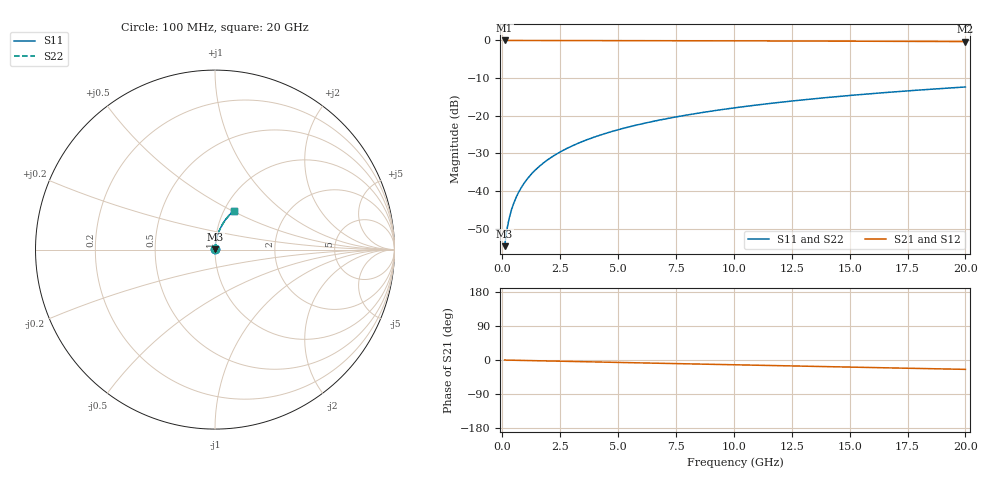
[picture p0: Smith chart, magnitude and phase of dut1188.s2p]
! Touchstone file exported from HFSS 2026.1.0
!  File:  C:/ffzhzh/LocalFiles/Ansys_Project_Files/temp_train_TMRDL_1188_1783162748_22436.aedt
!  Generated:  07:00:19 PM Jul  4, 2026
!  Design:  TMRDL
!  Project:  temp_train_TMRDL_1188_1783162748_22436
! Variables:
!  h_bsmrdl = 2um
!  h_ox = 20um
!  h_rdl = 5um
!  h_sub = 80um
!  h_tmrdl = 4.33um
!  h_tsv = 80um
!  h_via = 3um
!  l_bsmrdl = 300um
!  l_sub = 721.48um
!  l_tmrdl = 321.48um
!  m_sub = 200um
!  pitch = 58.32um
!  r_tsv = 6um
!  s_tmrdl = 10um
!  w_bsmrdl = 18um
!  w_sub = 500um
!  w_tmrdl = 27.3um
!  x_tsv_center1 = 335.13um
!  x_tsv_center2 = 653.13um
!  x_tsv_center3 = 1001.91um
!  x_tsv_center4 = 1319.91um
!  x_tsv_center5 = 1668.69um
!  x_tsv_center6 = 1986.69um
# GHz S MA R 50.000000
! Terminal data exported
! Port[1] = TM_RDL1_1_T1
! Port[2] = TM_RDL1_1_T2
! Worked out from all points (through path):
!   200 points, 100 MHz to 20 GHz, reference 50 ohm
!   highest |S21| = -0.01 dB at 100 MHz (marker M1); lowest = -0.3 dB at 20 GHz (marker M2)
!   group delay of S21, straight-line fit = 3.43 ps
!   lowest |S11| = -54.6 dB at 100 MHz (marker M3), VSWR 1.00, Z = 50.1 + j0.144 ohm
!   |S11| at or under -10 dB: start of sweep to end of sweep
!   |S22| runs from -54.6 to -12.4 dB; largest |S21 - S12| = 3e-15
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0.1  0.001853 50.8  0.9988 -0.1  0.9988 -0.1  0.001853 50.8
! Gamma 0 0 0 0
! Port Impedance 50 0 50 0
0.2  0.003093 66.0  0.9987 -0.3  0.9987 -0.3  0.003093 66.0
0.3  0.004384 72.0  0.9987 -0.4  0.9987 -0.4  0.004383 72.0
0.4  0.005673 75.3  0.9986 -0.5  0.9986 -0.5  0.005672 75.3
0.5  0.006961 77.4  0.9986 -0.7  0.9986 -0.7  0.00696 77.4
0.7  0.009545 80.0  0.9985 -0.9  0.9985 -0.9  0.009545 80.0
0.8  0.01084 80.8  0.9985 -1.0  0.9985 -1.0  0.01084 80.8
1  0.01345 82.0  0.9984 -1.3  0.9984 -1.3  0.01345 82.0
1.2  0.01606 82.7  0.9983 -1.6  0.9983 -1.6  0.01606 82.7
1.4  0.01867 83.1  0.9982 -1.8  0.9982 -1.8  0.01867 83.1
1.7  0.02259 83.4  0.9981 -2.2  0.9981 -2.2  0.02259 83.4
2  0.02651 83.5  0.9979 -2.6  0.9979 -2.6  0.02651 83.5
2.7  0.03563 83.3  0.9974 -3.5  0.9974 -3.5  0.03563 83.3
3.5  0.04598 82.7  0.9967 -4.5  0.9967 -4.5  0.04598 82.7
4.2  0.05496 82.0  0.996 -5.4  0.996 -5.4  0.05496 82.0
5  0.06513 81.2  0.9951 -6.4  0.9951 -6.4  0.06513 81.2
6.8  0.08772 79.1  0.9928 -8.7  0.9928 -8.7  0.08772 79.1
8.3  0.1062 77.4  0.9906 -10.5  0.9906 -10.5  0.1062 77.4
10.1  0.1281 75.4  0.9875 -12.8  0.9875 -12.8  0.1281 75.4
13.4  0.1672 71.5  0.9811 -16.8  0.9811 -16.8  0.1672 71.5
16.7  0.2049 67.7  0.9734 -20.8  0.9734 -20.8  0.2049 67.7
20  0.2408 63.9  0.9648 -24.7  0.9648 -24.7  0.2408 63.9
